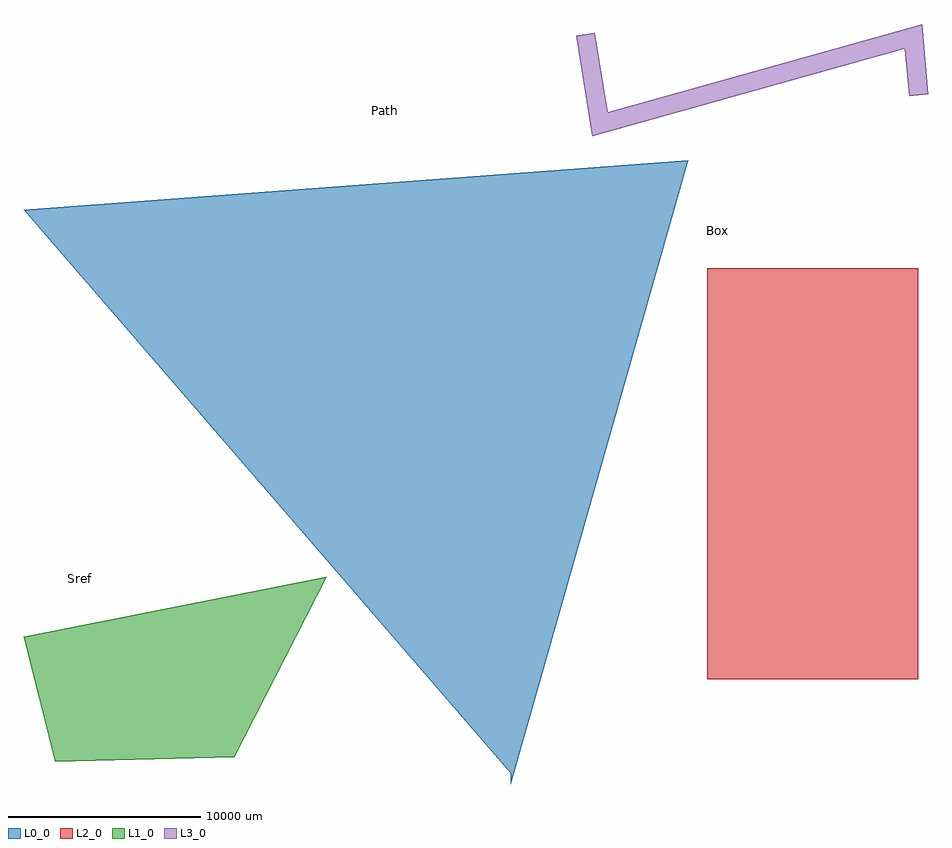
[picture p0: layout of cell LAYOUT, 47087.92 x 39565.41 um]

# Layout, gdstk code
import gdstk
lib = gdstk.Library(unit=1e-6, precision=1e-08)
def R(c, l, rs):  # rectangles x0, y0, x1, y1
    for r in rs: c.add(gdstk.rectangle(r[:2], r[2:], *l))
def P(c, l, *ps):  # polygons
    for p in ps: c.add(gdstk.Polygon(p, *l))
L0_0 = (0, 0)
L1_0 = (1, 0)
L2_0 = (2, 0)
L3_0 = (3, 0)

aap = lib.new_cell('AAP')
P(aap, L1_0, [(-9200,4520),(6565,7655),(1750,-1740),(-7560,-1980)])

layout = lib.new_cell('LAYOUT')
P(layout, L0_0, [(-20320,14100),(14270,16660),(5020,-15805),(5020,-15235)])
R(layout, L2_0, [(15265,-10345,26235,11055)])
layout.add(gdstk.FlexPath([(8919.12,23220.24),(9665.37,18542.78),(25995.15,23116.47),(26264.85,20053.53)], 1000, ends="flush", simple_path=True, layer=3, datatype=0))  # L3_0
layout.add(gdstk.Reference(aap, (-11125,-12670)))
layout.add(gdstk.Label('Boundary', (-22565,15395), layer=3, texttype=0))
layout.add(gdstk.Label('Path', (-1515,19245), layer=3, texttype=0))
layout.add(gdstk.Label('Sref', (-17400,-5115), layer=3, texttype=0))
layout.add(gdstk.Label('Box', (15790,13015), layer=3, texttype=0))

lib.write_gds('LAYOUT.gds')
